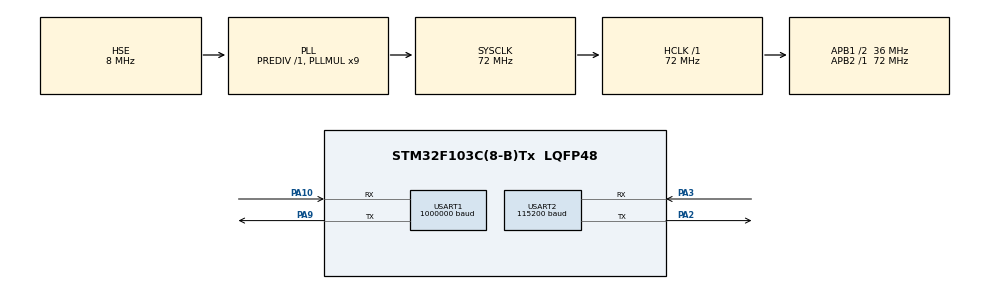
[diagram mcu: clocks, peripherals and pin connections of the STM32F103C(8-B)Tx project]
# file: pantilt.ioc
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Mcu.Family=STM32F1
Mcu.Name=STM32F103C(8-B)Tx
Mcu.Package=LQFP48
NVIC.PriorityGroup=NVIC_PRIORITYGROUP_4
NVIC.USART1_IRQn=true\:0\:0\:false\:false\:true\:true\:true\:true
NVIC.USART2_IRQn=true\:0\:0\:false\:false\:true\:true\:true\:true
PA10.Mode=Asynchronous
PA10.Signal=USART1_RX
PA13.Mode=Serial_Wire
PA13.Signal=SYS_JTMS-SWDIO
PA14.Mode=Serial_Wire
PA14.Signal=SYS_JTCK-SWCLK
PA2.Mode=Asynchronous
PA2.Signal=USART2_TX
PA3.Mode=Asynchronous
PA3.Signal=USART2_RX
PA9.Mode=Asynchronous
PA9.Signal=USART1_TX
PD0-OSC_IN.Mode=HSE-External-Oscillator
PD0-OSC_IN.Signal=RCC_OSC_IN
PD1-OSC_OUT.Mode=HSE-External-Oscillator
PD1-OSC_OUT.Signal=RCC_OSC_OUT
ProjectManager.HeapSize=0x200
ProjectManager.StackSize=0x400
ProjectManager.TargetToolchain=Makefile
RCC.AHBFreq_Value=72000000
RCC.APB1CLKDivider=RCC_HCLK_DIV2
RCC.APB1Freq_Value=36000000
RCC.APB1TimFreq_Value=72000000
RCC.APB2Freq_Value=72000000
RCC.APB2TimFreq_Value=72000000
RCC.HCLKFreq_Value=72000000
RCC.PLLMUL=RCC_PLL_MUL9
RCC.PLLSourceVirtual=RCC_PLLSOURCE_HSE
RCC.SYSCLKFreq_VALUE=72000000
RCC.SYSCLKSource=RCC_SYSCLKSOURCE_PLLCLK
RCC.USBFreq_Value=72000000
USART1.BaudRate=1000000
USART1.VirtualMode=VM_ASYNC
USART2.BaudRate=115200
USART2.VirtualMode=VM_ASYNC
board=custom

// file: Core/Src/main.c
/* USER CODE BEGIN Header */
/**
  ******************************************************************************
  * @file           : main.c
  * @brief          : Main program body
  ******************************************************************************
  * @attention
  *
  * Copyright (c) 2025 STMicroelectronics.
  * All rights reserved.
  *
  * This software is licensed under terms that can be found in the LICENSE file
  * in the root directory of this software component.
  * If no LICENSE file comes with this software, it is provided AS-IS.
  *
  ******************************************************************************
  */
/* USER CODE END Header */
#include "main.h"
#include "usart.h"
#include "gpio.h"

/* USER CODE BEGIN Includes */
#include "User_SMS_STS.h"
#include "SCServo.h"
#include "io_retargetToUart.h"
#include "math.h"
#include "stdio.h"
/* USER CODE END Includes */

/* USER CODE BEGIN PD */
#define DISTANCE 1000 //云台到白板的距离 单位mm
#define PI 3.141592
#define ANGLE_MAXIMUM 400  //限定舵机能往一边转的角度（4095为一圈
/* USER CODE END PD */

void SystemClock_Config(void);

/* USER CODE BEGIN 0 */
/***target from openmv***/
int16_t target_spe1;
int16_t target_spe2;
uint8_t Receivebuffer[8];
/***Feedback Data***/
int16_t fdb_pos1;
uint16_t fdb_spd1;
uint8_t fdb_acc1;
int16_t fdb_pos2;
uint16_t fdb_spd2;
uint8_t fdb_acc2;

int16_t ori_pos1;
int16_t ori_pos2;

uint16_t flag;
/***Feedback Data***/

/*pos_*/
double real_x,real_y;
double target_pos1,target_pos2;

/*spe_*/
uint16_t spe1;
uint16_t spe2;

/* USER CODE END 0 */

int main(void)
{

  /* MCU Configuration--------------------------------------------------------*/

  /* Reset of all peripherals, Initializes the Flash interface and the Systick. */
  HAL_Init();

  /* Configure the system clock */
  SystemClock_Config();

  /* Initialize all configured peripherals */
  MX_GPIO_Init();
  MX_USART1_UART_Init();
  MX_USART2_UART_Init();
  /* USER CODE BEGIN 2 */
  uint8_t mode1=1; //电机模式
  uint8_t mode2=1; //电机模式
  WheelMode(1,mode1); //模式0：位置模式 模式1：恒速； 模式2：pwm调速；模式3：步进
  WheelMode(2,mode2); //模式0：位置模式 模式1：恒速； 模式2：pwm调速；模式3：步进
   WriteSpe(1,0,0);
   WriteSpe(2,0,0);
  HAL_UART_Receive_IT(&huart2,Receivebuffer,sizeof(Receivebuffer));
  /* USER CODE END 2 */

  /* Infinite loop */
  while (1)
  {

    /* USER CODE BEGIN 3 */
    /**位置伺服方案
    real_x=0;
    real_y=0;
    target_pos1=atan(real_x/DISTANCE);
    target_pos2=atan(real_y/DISTANCE);
    //WritePosEx(1, (int16_t)(target_pos1/2/PI*4095), 4800, 50);
    //WritePosEx(2, (int16_t)(target_pos2/2/PI*4095), 4800, 50);
    */
    fdb_pos1=ReadPos(1);
    fdb_pos2=ReadPos(2);
    fdb_spd1=ReadSpeed(1);
    fdb_spd2=ReadSpeed(2);    //反馈数据
    if(flag==0){    //只运行一次，记录初始角度数据（一般为2048上下
        ori_pos1=fdb_pos1;
        ori_pos2=fdb_pos2;
        spe2=300;
        flag=1;
    }

  /*判断角度是否在正常范围内*/
   if(ori_pos1>=ANGLE_MAXIMUM&&ori_pos1<=4095-ANGLE_MAXIMUM)
    {
      if(fdb_pos1>=ori_pos1+ANGLE_MAXIMUM||fdb_pos1<=ori_pos1-ANGLE_MAXIMUM)
      {
        spe1=0;
        mode1=0;
        WheelMode(1,mode1);
      }
    }

    if(ori_pos2>=ANGLE_MAXIMUM&&ori_pos2<=4095-ANGLE_MAXIMUM)
    {
      //if(fdb_pos2<=3000&&fdb_pos2>=2000)
      if(fdb_pos2>=ori_pos2+ANGLE_MAXIMUM-150||fdb_pos2<=ori_pos2-ANGLE_MAXIMUM+50)
      {
        spe2=0;
        mode2=0;
        WheelMode(2,mode2);
      }
    }
    /*判断角度是否在正常范围内*/

/*位置模式复位*/
   if(mode2==0||mode1==0)
   {
    WritePosEx(1, 2048, 1000, 50);
    WritePosEx(2, 2223, 1000, 50);
   }

    if(mode2==1){
      WriteSpe(2,spe2,50);
    }
     if(mode1==1){
      WriteSpe(1,spe1,50);
    }
     printf("%d,%d,%d,%d,%d\n",spe2,ori_pos2,fdb_pos2,ReadSpeed(1),fdb_pos1);
   //HAL_Delay(3000);
  }
  /* USER CODE END 3 */
}

void SystemClock_Config(void)
{
  RCC_OscInitTypeDef RCC_OscInitStruct = {0};
  RCC_ClkInitTypeDef RCC_ClkInitStruct = {0};

  /** Initializes the RCC Oscillators according to the specified parameters
  * in the RCC_OscInitTypeDef structure.
  */
  RCC_OscInitStruct.OscillatorType = RCC_OSCILLATORTYPE_HSE;
  RCC_OscInitStruct.HSEState = RCC_HSE_ON;
  RCC_OscInitStruct.HSEPredivValue = RCC_HSE_PREDIV_DIV1;
  RCC_OscInitStruct.HSIState = RCC_HSI_ON;
  RCC_OscInitStruct.PLL.PLLState = RCC_PLL_ON;
  RCC_OscInitStruct.PLL.PLLSource = RCC_PLLSOURCE_HSE;
  RCC_OscInitStruct.PLL.PLLMUL = RCC_PLL_MUL9;
  if (HAL_RCC_OscConfig(&RCC_OscInitStruct) != HAL_OK)
  {
    Error_Handler();
  }

  /** Initializes the CPU, AHB and APB buses clocks
  */
  RCC_ClkInitStruct.ClockType = RCC_CLOCKTYPE_HCLK|RCC_CLOCKTYPE_SYSCLK
                              |RCC_CLOCKTYPE_PCLK1|RCC_CLOCKTYPE_PCLK2;
  RCC_ClkInitStruct.SYSCLKSource = RCC_SYSCLKSOURCE_PLLCLK;
  RCC_ClkInitStruct.AHBCLKDivider = RCC_SYSCLK_DIV1;
  RCC_ClkInitStruct.APB1CLKDivider = RCC_HCLK_DIV2;
  RCC_ClkInitStruct.APB2CLKDivider = RCC_HCLK_DIV1;

  if (HAL_RCC_ClockConfig(&RCC_ClkInitStruct, FLASH_LATENCY_2) != HAL_OK)
  {
    Error_Handler();
  }
}

void Error_Handler(void)
{
  __disable_irq();
  while (1)
  {
  }
}
